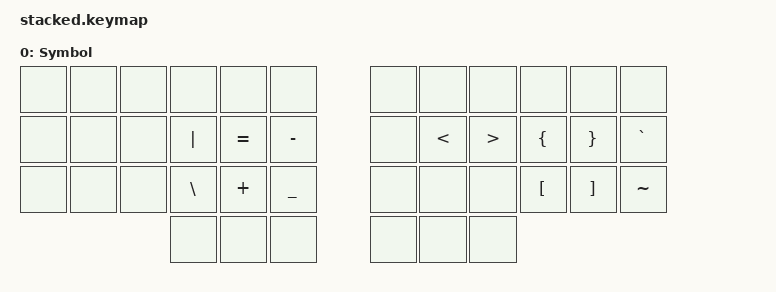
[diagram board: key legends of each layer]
#include <behaviors.dtsi>
#include <dt-bindings/zmk/keys.h>

/ {
    keymap {
        compatible = "zmk,keymap";

        Symbol {
            bindings = <
&none  &none  &none  &none          &none      &none        &none  &none   &none             &none     &none            &none
&none  &none  &none  &kp PIPE       &kp EQUAL  &kp MINUS    &none  &kp LT  &kp GREATER_THAN  &kp LBRC  &kp RIGHT_BRACE  &kp GRAVE
&none  &none  &none  &kp BACKSLASH  &kp PLUS   &kp UNDER    &none  &none   &none             &kp LBKT  &kp RBKT         &kp TILDE
                     &none          &none      &none        &none  &none   &none
            >;
        };
    };
};
